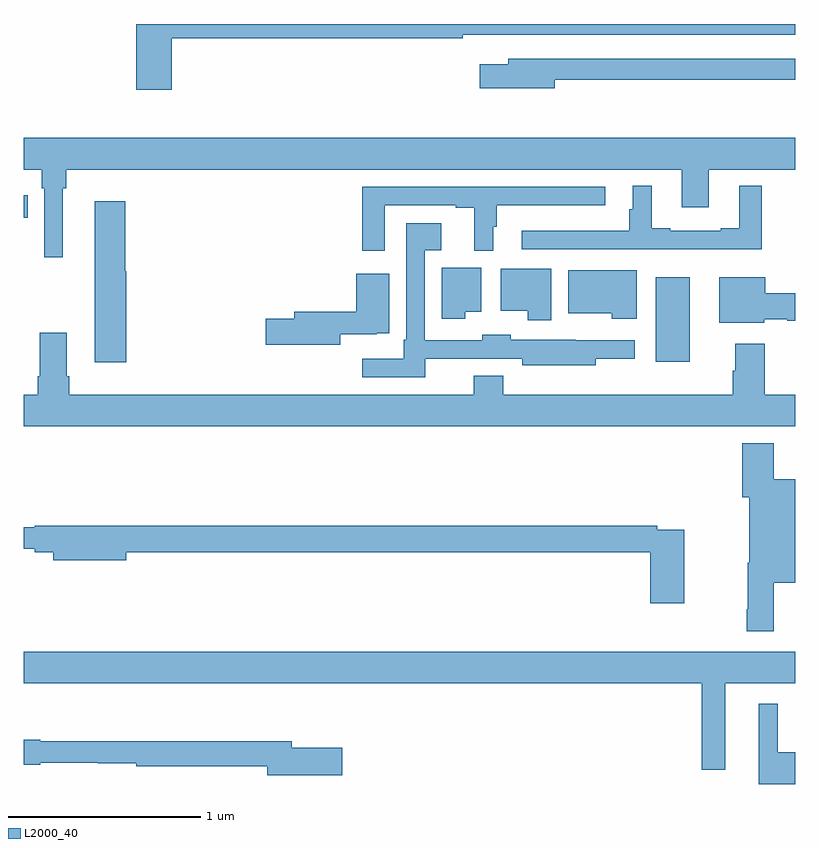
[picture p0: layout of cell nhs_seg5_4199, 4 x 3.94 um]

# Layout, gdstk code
import gdstk
lib = gdstk.Library(unit=1e-6, precision=1e-09)
def R(c, l, rs):  # rectangles x0, y0, x1, y1
    for r in rs: c.add(gdstk.rectangle(r[:2], r[2:], *l))
def P(c, l, *ps):  # polygons
    for p in ps: c.add(gdstk.Polygon(p, *l))
L2000_40 = (2000, 40)

nhs_seg5_4199 = lib.new_cell('nhs_seg5_4199')
R(nhs_seg5_4199, L2000_40, [(360.278,905.048,360.454,905.485), (357,905.794,357.02,905.91)])
P(nhs_seg5_4199, L2000_40, [(357.767,906.724),(359.276,906.724),(359.276,906.744),(361,906.744),(361,906.799),(357.584,906.799),(357.584,906.459),(357.767,906.459)],
  [(359.752,906.51),(361,906.51),(361,906.618),(359.513,906.618),(359.513,906.589),(359.364,906.589),(359.364,906.467),(359.752,906.467)],
  [(357.202,905.948),(357.221,905.948),(357.221,906.044),(360.413,906.044),(360.413,905.85),(360.553,905.85),(360.553,906.044),(361,906.044),(361,906.208),(357,906.208),(357,906.044),(357.092,906.044),(357.092,905.948),(357.105,905.948),(357.105,905.589),(357.202,905.589)],
  [(360.827,905.959),(360.71,905.959),(360.71,905.74),(360.614,905.74),(360.614,905.727),(360.352,905.727),(360.352,905.74),(360.256,905.74),(360.256,905.959),(360.158,905.959),(360.158,905.838),(360.139,905.838),(360.139,905.728),(359.583,905.728),(359.583,905.631),(360.282,905.631),(360.282,905.63),(360.827,905.63)],
  [(358.872,905.859),(359.24,905.859),(359.24,905.847),(359.336,905.847),(359.336,905.622),(359.434,905.622),(359.434,905.748),(359.453,905.748),(359.453,905.858),(360.016,905.858),(360.016,905.955),(358.756,905.955),(358.756,905.622),(358.872,905.622)],
  [(357.532,905.517),(357.527,905.517),(357.527,905.881),(357.368,905.881),(357.368,905.046),(357.532,905.046)],
  [(359.082,905.063),(359.276,905.063),(359.276,905.064),(359.585,905.064),(359.585,905.03),(359.965,905.03),(359.965,905.063),(360.169,905.063),(360.169,905.16),(359.861,905.16),(359.861,905.161),(359.526,905.161),(359.526,905.188),(359.376,905.188),(359.376,905.16),(359.079,905.16),(359.079,905.627),(359.164,905.627),(359.164,905.767),(358.983,905.767),(358.983,905.161),(358.971,905.161),(358.971,905.064),(358.755,905.064),(358.755,904.968),(359.082,904.968)],
  [(359.29,905.306),(359.371,905.306),(359.371,905.536),(359.168,905.536),(359.168,905.27),(359.29,905.27)],
  [(359.734,905.53),(359.474,905.53),(359.474,905.312),(359.612,905.312),(359.612,905.262),(359.734,905.262)],
  [(360.178,905.521),(359.822,905.521),(359.822,905.3),(360.049,905.3),(360.049,905.27),(360.178,905.27)],
  [(358.642,905.19),(358.83,905.19),(358.83,905.195),(358.894,905.195),(358.894,905.503),(358.724,905.503),(358.724,905.306),(358.403,905.306),(358.403,905.27),(358.254,905.27),(358.254,905.135),(358.642,905.135)],
  [(360.84,905.267),(360.96,905.267),(360.96,905.26),(361,905.26),(361,905.402),(360.844,905.402),(360.844,905.485),(360.605,905.485),(360.605,905.249),(360.84,905.249)],
  [(361,904.876),(360.842,904.876),(360.842,905.14),(360.689,905.14),(360.689,905),(360.677,905),(360.677,904.876),(359.486,904.876),(359.486,904.975),(359.333,904.975),(359.333,904.876),(357.236,904.876),(357.236,904.972),(357.223,904.972),(357.223,905.197),(357.083,905.197),(357.083,904.972),(357.071,904.972),(357.071,904.876),(357,904.876),(357,904.712),(361,904.712)],
  [(360.889,903.902),(361,903.902),(361,904.437),(360.889,904.437),(360.889,904.624),(360.725,904.624),(360.725,904.344),(360.761,904.344),(360.761,904.006),(360.754,904.006),(360.754,903.763),(360.749,903.763),(360.749,903.651),(360.889,903.651)],
  [(360.426,904.176),(360.284,904.176),(360.284,904.196),(357.056,904.196),(357.056,904.189),(357,904.189),(357,904.079),(357.056,904.079),(357.056,904.06),(357.152,904.06),(357.152,904.018),(357.532,904.018),(357.532,904.06),(360.248,904.06),(360.248,903.795),(360.426,903.795)],
  [(360.637,903.38),(361,903.38),(361,903.544),(357,903.544),(357,903.38),(360.516,903.38),(360.516,902.931),(360.637,902.931)],
  [(361,903.022),(360.91,903.022),(360.91,903.274),(360.812,903.274),(360.812,902.858),(361,902.858)],
  [(358.651,903.045),(358.39,903.045),(358.39,903.079),(357.084,903.079),(357.084,903.087),(357,903.087),(357,902.957),(357.084,902.957),(357.084,902.968),(357.384,902.968),(357.384,902.965),(357.584,902.965),(357.584,902.95),(358.262,902.95),(358.262,902.903),(358.651,902.903)])

lib.write_gds('nhs_seg5_4199.gds')
